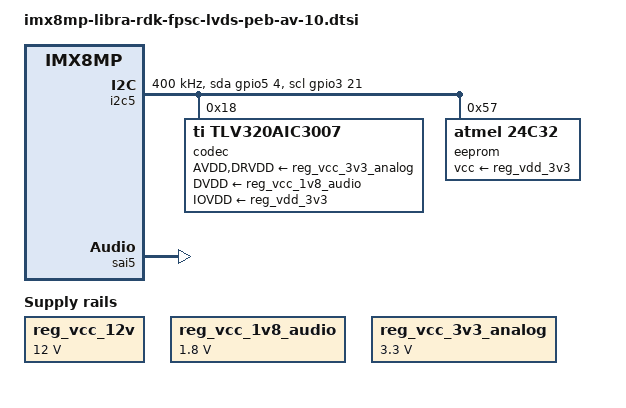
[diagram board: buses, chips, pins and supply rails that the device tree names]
// SPDX-License-Identifier: (GPL-2.0-or-later OR MIT)
/*
 * Copyright (C) 2025 PHYTEC Messtechnik GmbH
 */

#include <dt-bindings/gpio/gpio.h>
#include <dt-bindings/clock/imx8mp-clock.h>
#include "imx8mp-pinfunc.h"

&{/} {

	backlight_lvds1: backlight-lvds1 {
		compatible = "pwm-backlight";
		pinctrl-0 = <&pinctrl_lvds1>;
		pinctrl-names = "default";
		power-supply = <&reg_vcc_12v>;
		status = "disabled";
	};

	panel_lvds1: panel-lvds1 {
		backlight = <&backlight_lvds1>;
		power-supply = <&reg_vdd_3v3>;
		status = "disabled";

		port {
			panel1_in: endpoint {
				remote-endpoint = <&ldb_lvds_ch1>;
			};
		};
	};

	reg_vcc_12v: regulator-12v {
		compatible = "regulator-fixed";
		regulator-always-on;
		regulator-boot-on;
		regulator-max-microvolt = <12000000>;
		regulator-min-microvolt = <12000000>;
		regulator-name = "VCC_12V";
	};

	reg_vcc_1v8_audio: regulator-1v8 {
		compatible = "regulator-fixed";
		regulator-always-on;
		regulator-boot-on;
		regulator-max-microvolt = <1800000>;
		regulator-min-microvolt = <1800000>;
		regulator-name = "VCC_1V8_Audio";
	};

	reg_vcc_3v3_analog: regulator-3v3 {
		compatible = "regulator-fixed";
		regulator-always-on;
		regulator-boot-on;
		regulator-max-microvolt = <3300000>;
		regulator-min-microvolt = <3300000>;
		regulator-name = "VCC_3V3_Analog";
	};

	sound {
		compatible = "simple-audio-card";
		simple-audio-card,name = "snd-peb-av-10";
		simple-audio-card,format = "i2s";
		simple-audio-card,bitclock-master = <&dailink_master>;
		simple-audio-card,frame-master = <&dailink_master>;
		simple-audio-card,mclk-fs = <32>;
		simple-audio-card,widgets =
			"Line", "Line In",
			"Speaker", "Speaker",
			"Microphone", "Microphone Jack",
			"Headphone", "Headphone Jack";
		simple-audio-card,routing =
			"Speaker", "SPOP",
			"Speaker", "SPOM",
			"Headphone Jack", "HPLOUT",
			"Headphone Jack", "HPROUT",
			"LINE1L", "Line In",
			"LINE1R", "Line In",
			"MIC3R", "Microphone Jack",
			"Microphone Jack", "Mic Bias";

		simple-audio-card,codec {
			sound-dai = <&codec>;
		};

		dailink_master: simple-audio-card,cpu {
			sound-dai = <&sai5>;
		};
	};
};

&i2c5 {
	clock-frequency = <400000>;
	pinctrl-0 = <&pinctrl_i2c5>;
	pinctrl-1 = <&pinctrl_i2c5_gpio>;
	pinctrl-names = "default", "gpio";
	scl-gpios = <&gpio3 21 (GPIO_ACTIVE_HIGH | GPIO_OPEN_DRAIN)>;
	sda-gpios = <&gpio5 4 (GPIO_ACTIVE_HIGH | GPIO_OPEN_DRAIN)>;
	#address-cells = <1>;
	#size-cells = <0>;
	status = "okay";

	codec: audio-codec@18 {
		compatible = "ti,tlv320aic3007";
		reg = <0x18>;
		pinctrl-0 = <&pinctrl_tlv320>;
		pinctrl-names = "default";
		#sound-dai-cells = <0>;
		ai3x-gpio-func = <0xd 0x0>;
		ai3x-micbias-vg = <2>;
		AVDD-supply = <&reg_vcc_3v3_analog>;
		DRVDD-supply = <&reg_vcc_3v3_analog>;
		DVDD-supply = <&reg_vcc_1v8_audio>;
		IOVDD-supply = <&reg_vdd_3v3>;
	};

	eeprom@57 {
		compatible = "atmel,24c32";
		reg = <0x57>;
		pagesize = <32>;
		vcc-supply = <&reg_vdd_3v3>;
	};
};

&ldb_lvds_ch1 {
	remote-endpoint = <&panel1_in>;
};

&pwm2 {
	pinctrl-0 = <&pinctrl_pwm2>;
	pinctrl-names = "default";
};

&sai5 {
	pinctrl-0 = <&pinctrl_sai5>;
	pinctrl-names = "default";
	assigned-clocks = <&clk IMX8MP_CLK_SAI5>;
	assigned-clock-parents = <&clk IMX8MP_AUDIO_PLL1_OUT>;
	assigned-clock-rates = <12288000>;
	clocks = <&audio_blk_ctrl IMX8MP_CLK_AUDIOMIX_SAI5_IPG>,
		 <&clk IMX8MP_CLK_DUMMY>,
		 <&audio_blk_ctrl IMX8MP_CLK_AUDIOMIX_SAI5_MCLK1>,
		 <&clk IMX8MP_CLK_DUMMY>,
		 <&clk IMX8MP_CLK_DUMMY>,
		 <&clk IMX8MP_AUDIO_PLL1_OUT>,
		 <&clk IMX8MP_AUDIO_PLL2_OUT>;
	clock-names = "bus", "mclk0", "mclk1", "mclk2", "mclk3", "pll8k",
		      "pll11k";
	#sound-dai-cells = <0>;
	fsl,sai-mclk-direction-output;
	fsl,sai-synchronous-rx;
	status = "okay";
};

&iomuxc {
	pinctrl_i2c5: i2c5grp {
		fsl,pins = <
			MX8MP_IOMUXC_SAI5_RXD0__I2C5_SCL	0x400001c2
			MX8MP_IOMUXC_SPDIF_RX__I2C5_SDA		0x400001c2
		>;
	};

	pinctrl_i2c5_gpio: i2c5gpiogrp {
		fsl,pins = <
			MX8MP_IOMUXC_SAI5_RXD0__GPIO3_IO21	0x1e2
			MX8MP_IOMUXC_SPDIF_RX__GPIO5_IO04	0x1e2
		>;
	};

	pinctrl_lvds1: lvds1grp {
		fsl,pins = <
			MX8MP_IOMUXC_SAI3_RXFS__GPIO4_IO28	0x12
		>;
	};

	pinctrl_pwm2: pwm2grp {
		fsl,pins = <
			MX8MP_IOMUXC_GPIO1_IO09__PWM2_OUT	0x12
		>;
	};

	pinctrl_sai5: sai5grp {
		fsl,pins = <
			MX8MP_IOMUXC_SAI2_RXD0__AUDIOMIX_SAI5_TX_DATA00 0xd6
			MX8MP_IOMUXC_SAI3_RXD__AUDIOMIX_SAI5_RX_DATA00	0xd6
			MX8MP_IOMUXC_SAI5_MCLK__AUDIOMIX_SAI5_MCLK	0xd6
			MX8MP_IOMUXC_SAI5_RXD1__AUDIOMIX_SAI5_TX_SYNC	0xd6
			MX8MP_IOMUXC_SAI5_RXD2__AUDIOMIX_SAI5_TX_BCLK	0xd6
		>;
	};

	pinctrl_tlv320: tlv320grp {
		fsl,pins = <
			MX8MP_IOMUXC_SAI3_RXC__GPIO4_IO29	0x16
		>;
	};
};
